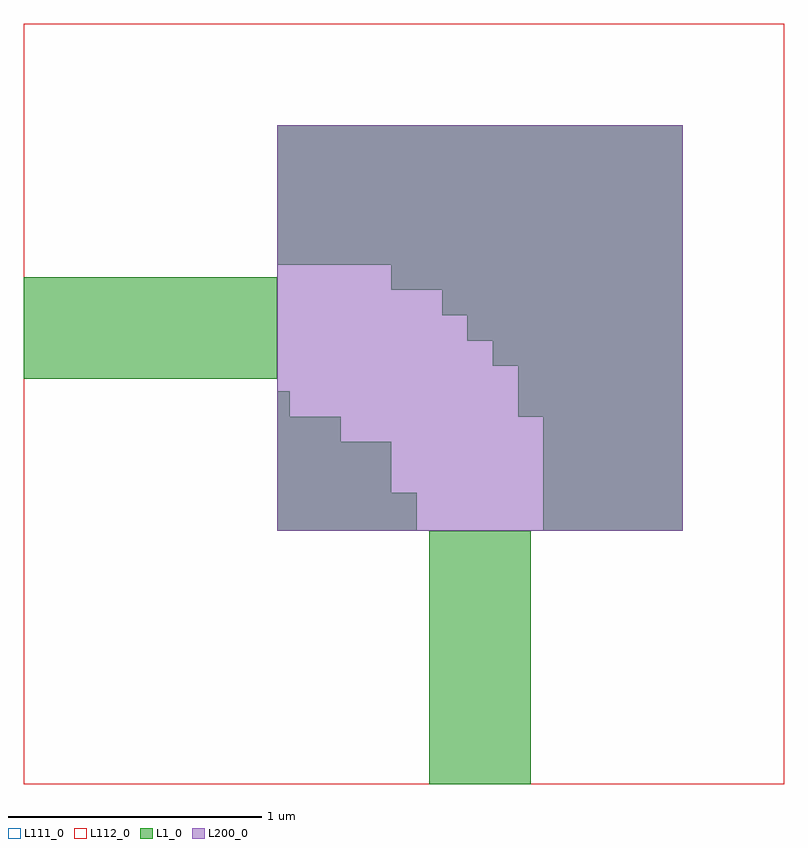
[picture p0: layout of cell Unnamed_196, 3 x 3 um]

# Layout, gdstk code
from math import pi, radians
import gdstk
lib = gdstk.Library(unit=1e-6, precision=1e-09)
def R(c, l, rs):  # rectangles x0, y0, x1, y1
    for r in rs: c.add(gdstk.rectangle(r[:2], r[2:], *l))
L1_0 = (1, 0)
L111_0 = (111, 0)
L112_0 = (112, 0)
L200_0 = (200, 0)

unnamed_195 = lib.new_cell('Unnamed_195')
R(unnamed_195, L1_0, [(0.6,-1,1,0), (-1,0.6,0,1)])

unnamed_197 = lib.new_cell('Unnamed_197')
R(unnamed_197, L111_0, [(-1,-1,2,2)])

unnamed_198 = lib.new_cell('Unnamed_198')
R(unnamed_198, L200_0, [(0,0,1.6,1.6)])

unnamed_199 = lib.new_cell('Unnamed_199')
R(unnamed_199, L112_0, [(-1,-1,2,2)])

cell = lib.new_cell('CELL')
R(cell, L1_0, [(0,0,1,1)])

grid = lib.new_cell('GRID')
grid.add(gdstk.Reference(cell, (24,31)))
grid.add(gdstk.Reference(cell, (24,30)))
grid.add(gdstk.Reference(cell, (24,29)))
grid.add(gdstk.Reference(cell, (24,28)))
grid.add(gdstk.Reference(cell, (24,27)))
grid.add(gdstk.Reference(cell, (24,26)))
grid.add(gdstk.Reference(cell, (24,25)))
grid.add(gdstk.Reference(cell, (24,24)))
grid.add(gdstk.Reference(cell, (25,31)))
grid.add(gdstk.Reference(cell, (25,30)))
grid.add(gdstk.Reference(cell, (25,29)))
grid.add(gdstk.Reference(cell, (25,28)))
grid.add(gdstk.Reference(cell, (25,27)))
grid.add(gdstk.Reference(cell, (25,26)))
grid.add(gdstk.Reference(cell, (25,25)))
grid.add(gdstk.Reference(cell, (25,24)))
grid.add(gdstk.Reference(cell, (26,31)))
grid.add(gdstk.Reference(cell, (26,30)))
grid.add(gdstk.Reference(cell, (26,29)))
grid.add(gdstk.Reference(cell, (26,28)))
grid.add(gdstk.Reference(cell, (26,27)))
grid.add(gdstk.Reference(cell, (26,26)))
grid.add(gdstk.Reference(cell, (26,25)))
grid.add(gdstk.Reference(cell, (26,24)))
grid.add(gdstk.Reference(cell, (27,31)))
grid.add(gdstk.Reference(cell, (27,30)))
grid.add(gdstk.Reference(cell, (27,29)))
grid.add(gdstk.Reference(cell, (27,28)))
grid.add(gdstk.Reference(cell, (27,27)))
grid.add(gdstk.Reference(cell, (27,26)))
grid.add(gdstk.Reference(cell, (27,25)))
grid.add(gdstk.Reference(cell, (27,24)))
grid.add(gdstk.Reference(cell, (28,31)))
grid.add(gdstk.Reference(cell, (28,30)))
grid.add(gdstk.Reference(cell, (28,29)))
grid.add(gdstk.Reference(cell, (28,28)))
grid.add(gdstk.Reference(cell, (28,27)))
grid.add(gdstk.Reference(cell, (28,26)))
grid.add(gdstk.Reference(cell, (28,25)))
grid.add(gdstk.Reference(cell, (28,24)))
grid.add(gdstk.Reference(cell, (29,31)))
grid.add(gdstk.Reference(cell, (29,30)))
grid.add(gdstk.Reference(cell, (29,29)))
grid.add(gdstk.Reference(cell, (29,28)))
grid.add(gdstk.Reference(cell, (29,27)))
grid.add(gdstk.Reference(cell, (29,26)))
grid.add(gdstk.Reference(cell, (29,25)))
grid.add(gdstk.Reference(cell, (29,24)))
grid.add(gdstk.Reference(cell, (30,31)))
grid.add(gdstk.Reference(cell, (30,30)))
grid.add(gdstk.Reference(cell, (30,29)))
grid.add(gdstk.Reference(cell, (30,28)))
grid.add(gdstk.Reference(cell, (30,27)))
grid.add(gdstk.Reference(cell, (30,26)))
grid.add(gdstk.Reference(cell, (30,25)))
grid.add(gdstk.Reference(cell, (30,24)))
grid.add(gdstk.Reference(cell, (31,31)))
grid.add(gdstk.Reference(cell, (31,30)))
grid.add(gdstk.Reference(cell, (31,29)))
grid.add(gdstk.Reference(cell, (31,28)))
grid.add(gdstk.Reference(cell, (31,27)))
grid.add(gdstk.Reference(cell, (31,26)))
grid.add(gdstk.Reference(cell, (31,25)))
grid.add(gdstk.Reference(cell, (31,24)))
grid.add(gdstk.Reference(cell, (23,31)))
grid.add(gdstk.Reference(cell, (23,30)))
grid.add(gdstk.Reference(cell, (23,29)))
grid.add(gdstk.Reference(cell, (23,28)))
grid.add(gdstk.Reference(cell, (23,27)))
grid.add(gdstk.Reference(cell, (23,26)))
grid.add(gdstk.Reference(cell, (23,25)))
grid.add(gdstk.Reference(cell, (23,24)))
grid.add(gdstk.Reference(cell, (21,31)))
grid.add(gdstk.Reference(cell, (21,30)))
grid.add(gdstk.Reference(cell, (21,29)))
grid.add(gdstk.Reference(cell, (21,28)))
grid.add(gdstk.Reference(cell, (21,27)))
grid.add(gdstk.Reference(cell, (21,26)))
grid.add(gdstk.Reference(cell, (21,25)))
grid.add(gdstk.Reference(cell, (21,24)))
grid.add(gdstk.Reference(cell, (22,31)))
grid.add(gdstk.Reference(cell, (22,30)))
grid.add(gdstk.Reference(cell, (22,29)))
grid.add(gdstk.Reference(cell, (22,28)))
grid.add(gdstk.Reference(cell, (22,27)))
grid.add(gdstk.Reference(cell, (22,26)))
grid.add(gdstk.Reference(cell, (22,25)))
grid.add(gdstk.Reference(cell, (22,24)))
grid.add(gdstk.Reference(cell, (20,22)))
grid.add(gdstk.Reference(cell, (20,21)))
grid.add(gdstk.Reference(cell, (22,23)))
grid.add(gdstk.Reference(cell, (22,22)))
grid.add(gdstk.Reference(cell, (22,21)))
grid.add(gdstk.Reference(cell, (22,20)))
grid.add(gdstk.Reference(cell, (22,19)))
grid.add(gdstk.Reference(cell, (22,18)))
grid.add(gdstk.Reference(cell, (22,17)))
grid.add(gdstk.Reference(cell, (22,16)))
grid.add(gdstk.Reference(cell, (20,20)))
grid.add(gdstk.Reference(cell, (20,19)))
grid.add(gdstk.Reference(cell, (20,18)))
grid.add(gdstk.Reference(cell, (20,17)))
grid.add(gdstk.Reference(cell, (20,16)))
grid.add(gdstk.Reference(cell, (16,16)))
grid.add(gdstk.Reference(cell, (17,18)))
grid.add(gdstk.Reference(cell, (17,17)))
grid.add(gdstk.Reference(cell, (23,23)))
grid.add(gdstk.Reference(cell, (23,22)))
grid.add(gdstk.Reference(cell, (23,21)))
grid.add(gdstk.Reference(cell, (23,20)))
grid.add(gdstk.Reference(cell, (23,19)))
grid.add(gdstk.Reference(cell, (23,18)))
grid.add(gdstk.Reference(cell, (23,17)))
grid.add(gdstk.Reference(cell, (23,16)))
grid.add(gdstk.Reference(cell, (17,16)))
grid.add(gdstk.Reference(cell, (18,18)))
grid.add(gdstk.Reference(cell, (18,17)))
grid.add(gdstk.Reference(cell, (18,16)))
grid.add(gdstk.Reference(cell, (19,22)))
grid.add(gdstk.Reference(cell, (21,23)))
grid.add(gdstk.Reference(cell, (21,22)))
grid.add(gdstk.Reference(cell, (21,21)))
grid.add(gdstk.Reference(cell, (21,20)))
grid.add(gdstk.Reference(cell, (21,19)))
grid.add(gdstk.Reference(cell, (21,18)))
grid.add(gdstk.Reference(cell, (21,17)))
grid.add(gdstk.Reference(cell, (21,16)))
grid.add(gdstk.Reference(cell, (19,21)))
grid.add(gdstk.Reference(cell, (19,20)))
grid.add(gdstk.Reference(cell, (19,19)))
grid.add(gdstk.Reference(cell, (19,18)))
grid.add(gdstk.Reference(cell, (19,17)))
grid.add(gdstk.Reference(cell, (19,16)))
grid.add(gdstk.Reference(cell, (24,23)))
grid.add(gdstk.Reference(cell, (24,22)))
grid.add(gdstk.Reference(cell, (24,21)))
grid.add(gdstk.Reference(cell, (24,20)))
grid.add(gdstk.Reference(cell, (24,19)))
grid.add(gdstk.Reference(cell, (24,18)))
grid.add(gdstk.Reference(cell, (24,17)))
grid.add(gdstk.Reference(cell, (24,16)))
grid.add(gdstk.Reference(cell, (28,23)))
grid.add(gdstk.Reference(cell, (28,22)))
grid.add(gdstk.Reference(cell, (28,21)))
grid.add(gdstk.Reference(cell, (28,20)))
grid.add(gdstk.Reference(cell, (28,19)))
grid.add(gdstk.Reference(cell, (28,18)))
grid.add(gdstk.Reference(cell, (28,17)))
grid.add(gdstk.Reference(cell, (28,16)))
grid.add(gdstk.Reference(cell, (26,23)))
grid.add(gdstk.Reference(cell, (26,22)))
grid.add(gdstk.Reference(cell, (26,21)))
grid.add(gdstk.Reference(cell, (26,20)))
grid.add(gdstk.Reference(cell, (26,19)))
grid.add(gdstk.Reference(cell, (26,18)))
grid.add(gdstk.Reference(cell, (26,17)))
grid.add(gdstk.Reference(cell, (26,16)))
grid.add(gdstk.Reference(cell, (29,23)))
grid.add(gdstk.Reference(cell, (29,22)))
grid.add(gdstk.Reference(cell, (29,21)))
grid.add(gdstk.Reference(cell, (29,20)))
grid.add(gdstk.Reference(cell, (29,19)))
grid.add(gdstk.Reference(cell, (29,18)))
grid.add(gdstk.Reference(cell, (29,17)))
grid.add(gdstk.Reference(cell, (29,16)))
grid.add(gdstk.Reference(cell, (25,23)))
grid.add(gdstk.Reference(cell, (25,22)))
grid.add(gdstk.Reference(cell, (25,21)))
grid.add(gdstk.Reference(cell, (25,20)))
grid.add(gdstk.Reference(cell, (25,19)))
grid.add(gdstk.Reference(cell, (25,18)))
grid.add(gdstk.Reference(cell, (25,17)))
grid.add(gdstk.Reference(cell, (25,16)))
grid.add(gdstk.Reference(cell, (30,23)))
grid.add(gdstk.Reference(cell, (30,22)))
grid.add(gdstk.Reference(cell, (30,21)))
grid.add(gdstk.Reference(cell, (30,20)))
grid.add(gdstk.Reference(cell, (30,19)))
grid.add(gdstk.Reference(cell, (30,18)))
grid.add(gdstk.Reference(cell, (30,17)))
grid.add(gdstk.Reference(cell, (30,16)))
grid.add(gdstk.Reference(cell, (27,23)))
grid.add(gdstk.Reference(cell, (27,22)))
grid.add(gdstk.Reference(cell, (27,21)))
grid.add(gdstk.Reference(cell, (27,20)))
grid.add(gdstk.Reference(cell, (27,19)))
grid.add(gdstk.Reference(cell, (27,18)))
grid.add(gdstk.Reference(cell, (27,17)))
grid.add(gdstk.Reference(cell, (27,16)))
grid.add(gdstk.Reference(cell, (31,23)))
grid.add(gdstk.Reference(cell, (31,22)))
grid.add(gdstk.Reference(cell, (31,21)))
grid.add(gdstk.Reference(cell, (31,20)))
grid.add(gdstk.Reference(cell, (31,19)))
grid.add(gdstk.Reference(cell, (31,18)))
grid.add(gdstk.Reference(cell, (31,17)))
grid.add(gdstk.Reference(cell, (31,16)))
grid.add(gdstk.Reference(cell, (3,31)))
grid.add(gdstk.Reference(cell, (3,30)))
grid.add(gdstk.Reference(cell, (3,29)))
grid.add(gdstk.Reference(cell, (3,28)))
grid.add(gdstk.Reference(cell, (3,27)))
grid.add(gdstk.Reference(cell, (3,26)))
grid.add(gdstk.Reference(cell, (3,25)))
grid.add(gdstk.Reference(cell, (3,24)))
grid.add(gdstk.Reference(cell, (3,23)))
grid.add(gdstk.Reference(cell, (4,31)))
grid.add(gdstk.Reference(cell, (4,30)))
grid.add(gdstk.Reference(cell, (4,29)))
grid.add(gdstk.Reference(cell, (4,28)))
grid.add(gdstk.Reference(cell, (4,27)))
grid.add(gdstk.Reference(cell, (4,26)))
grid.add(gdstk.Reference(cell, (4,25)))
grid.add(gdstk.Reference(cell, (4,24)))
grid.add(gdstk.Reference(cell, (4,23)))
grid.add(gdstk.Reference(cell, (5,31)))
grid.add(gdstk.Reference(cell, (5,30)))
grid.add(gdstk.Reference(cell, (5,29)))
grid.add(gdstk.Reference(cell, (5,28)))
grid.add(gdstk.Reference(cell, (5,27)))
grid.add(gdstk.Reference(cell, (5,26)))
grid.add(gdstk.Reference(cell, (5,25)))
grid.add(gdstk.Reference(cell, (5,24)))
grid.add(gdstk.Reference(cell, (5,23)))
grid.add(gdstk.Reference(cell, (6,31)))
grid.add(gdstk.Reference(cell, (6,30)))
grid.add(gdstk.Reference(cell, (6,29)))
grid.add(gdstk.Reference(cell, (6,28)))
grid.add(gdstk.Reference(cell, (6,27)))
grid.add(gdstk.Reference(cell, (6,26)))
grid.add(gdstk.Reference(cell, (6,25)))
grid.add(gdstk.Reference(cell, (6,24)))
grid.add(gdstk.Reference(cell, (6,23)))
grid.add(gdstk.Reference(cell, (7,31)))
grid.add(gdstk.Reference(cell, (7,30)))
grid.add(gdstk.Reference(cell, (7,29)))
grid.add(gdstk.Reference(cell, (7,28)))
grid.add(gdstk.Reference(cell, (7,27)))
grid.add(gdstk.Reference(cell, (8,31)))
grid.add(gdstk.Reference(cell, (8,30)))
grid.add(gdstk.Reference(cell, (8,29)))
grid.add(gdstk.Reference(cell, (8,28)))
grid.add(gdstk.Reference(cell, (8,27)))
grid.add(gdstk.Reference(cell, (9,31)))
grid.add(gdstk.Reference(cell, (10,31)))
grid.add(gdstk.Reference(cell, (15,16)))
grid.add(gdstk.Reference(cell, (0,31)))
grid.add(gdstk.Reference(cell, (0,30)))
grid.add(gdstk.Reference(cell, (0,29)))
grid.add(gdstk.Reference(cell, (0,28)))
grid.add(gdstk.Reference(cell, (0,27)))
grid.add(gdstk.Reference(cell, (0,26)))
grid.add(gdstk.Reference(cell, (0,25)))
grid.add(gdstk.Reference(cell, (0,24)))
grid.add(gdstk.Reference(cell, (0,23)))
grid.add(gdstk.Reference(cell, (0,22)))
grid.add(gdstk.Reference(cell, (0,21)))
grid.add(gdstk.Reference(cell, (1,31)))
grid.add(gdstk.Reference(cell, (1,30)))
grid.add(gdstk.Reference(cell, (1,29)))
grid.add(gdstk.Reference(cell, (1,28)))
grid.add(gdstk.Reference(cell, (1,27)))
grid.add(gdstk.Reference(cell, (1,26)))
grid.add(gdstk.Reference(cell, (1,25)))
grid.add(gdstk.Reference(cell, (1,24)))
grid.add(gdstk.Reference(cell, (1,23)))
grid.add(gdstk.Reference(cell, (1,22)))
grid.add(gdstk.Reference(cell, (1,21)))
grid.add(gdstk.Reference(cell, (2,31)))
grid.add(gdstk.Reference(cell, (2,30)))
grid.add(gdstk.Reference(cell, (2,29)))
grid.add(gdstk.Reference(cell, (2,28)))
grid.add(gdstk.Reference(cell, (2,27)))
grid.add(gdstk.Reference(cell, (2,26)))
grid.add(gdstk.Reference(cell, (2,25)))
grid.add(gdstk.Reference(cell, (2,24)))
grid.add(gdstk.Reference(cell, (2,23)))
grid.add(gdstk.Reference(cell, (2,22)))
grid.add(gdstk.Reference(cell, (2,21)))
grid.add(gdstk.Reference(cell, (8,10)))
grid.add(gdstk.Reference(cell, (8,9)))
grid.add(gdstk.Reference(cell, (8,8)))
grid.add(gdstk.Reference(cell, (9,12)))
grid.add(gdstk.Reference(cell, (9,11)))
grid.add(gdstk.Reference(cell, (9,10)))
grid.add(gdstk.Reference(cell, (9,9)))
grid.add(gdstk.Reference(cell, (9,8)))
grid.add(gdstk.Reference(cell, (10,12)))
grid.add(gdstk.Reference(cell, (10,11)))
grid.add(gdstk.Reference(cell, (10,10)))
grid.add(gdstk.Reference(cell, (10,9)))
grid.add(gdstk.Reference(cell, (10,8)))
grid.add(gdstk.Reference(cell, (11,12)))
grid.add(gdstk.Reference(cell, (11,11)))
grid.add(gdstk.Reference(cell, (11,10)))
grid.add(gdstk.Reference(cell, (11,9)))
grid.add(gdstk.Reference(cell, (11,8)))
grid.add(gdstk.Reference(cell, (12,12)))
grid.add(gdstk.Reference(cell, (12,11)))
grid.add(gdstk.Reference(cell, (12,10)))
grid.add(gdstk.Reference(cell, (12,9)))
grid.add(gdstk.Reference(cell, (12,8)))
grid.add(gdstk.Reference(cell, (13,14)))
grid.add(gdstk.Reference(cell, (13,13)))
grid.add(gdstk.Reference(cell, (13,12)))
grid.add(gdstk.Reference(cell, (13,11)))
grid.add(gdstk.Reference(cell, (13,10)))
grid.add(gdstk.Reference(cell, (13,9)))
grid.add(gdstk.Reference(cell, (13,8)))
grid.add(gdstk.Reference(cell, (14,14)))
grid.add(gdstk.Reference(cell, (14,13)))
grid.add(gdstk.Reference(cell, (14,12)))
grid.add(gdstk.Reference(cell, (14,11)))
grid.add(gdstk.Reference(cell, (14,10)))
grid.add(gdstk.Reference(cell, (14,9)))
grid.add(gdstk.Reference(cell, (14,8)))
grid.add(gdstk.Reference(cell, (15,15)))
grid.add(gdstk.Reference(cell, (15,14)))
grid.add(gdstk.Reference(cell, (15,13)))
grid.add(gdstk.Reference(cell, (15,12)))
grid.add(gdstk.Reference(cell, (15,11)))
grid.add(gdstk.Reference(cell, (15,10)))
grid.add(gdstk.Reference(cell, (15,9)))
grid.add(gdstk.Reference(cell, (15,8)))
grid.add(gdstk.Reference(cell, (3,10)))
grid.add(gdstk.Reference(cell, (3,9)))
grid.add(gdstk.Reference(cell, (3,8)))
grid.add(gdstk.Reference(cell, (0,10)))
grid.add(gdstk.Reference(cell, (0,9)))
grid.add(gdstk.Reference(cell, (0,8)))
grid.add(gdstk.Reference(cell, (4,10)))
grid.add(gdstk.Reference(cell, (4,9)))
grid.add(gdstk.Reference(cell, (4,8)))
grid.add(gdstk.Reference(cell, (2,10)))
grid.add(gdstk.Reference(cell, (2,9)))
grid.add(gdstk.Reference(cell, (2,8)))
grid.add(gdstk.Reference(cell, (5,10)))
grid.add(gdstk.Reference(cell, (5,9)))
grid.add(gdstk.Reference(cell, (5,8)))
grid.add(gdstk.Reference(cell, (1,10)))
grid.add(gdstk.Reference(cell, (1,9)))
grid.add(gdstk.Reference(cell, (1,8)))
grid.add(gdstk.Reference(cell, (6,10)))
grid.add(gdstk.Reference(cell, (6,9)))
grid.add(gdstk.Reference(cell, (6,8)))
grid.add(gdstk.Reference(cell, (7,10)))
grid.add(gdstk.Reference(cell, (7,9)))
grid.add(gdstk.Reference(cell, (7,8)))
grid.add(gdstk.Reference(cell, (4,5)))
grid.add(gdstk.Reference(cell, (4,4)))
grid.add(gdstk.Reference(cell, (4,3)))
grid.add(gdstk.Reference(cell, (7,7)))
grid.add(gdstk.Reference(cell, (7,6)))
grid.add(gdstk.Reference(cell, (7,5)))
grid.add(gdstk.Reference(cell, (7,4)))
grid.add(gdstk.Reference(cell, (7,3)))
grid.add(gdstk.Reference(cell, (7,2)))
grid.add(gdstk.Reference(cell, (7,1)))
grid.add(gdstk.Reference(cell, (7,0)))
grid.add(gdstk.Reference(cell, (1,2)))
grid.add(gdstk.Reference(cell, (4,2)))
grid.add(gdstk.Reference(cell, (4,1)))
grid.add(gdstk.Reference(cell, (4,0)))
grid.add(gdstk.Reference(cell, (3,7)))
grid.add(gdstk.Reference(cell, (0,3)))
grid.add(gdstk.Reference(cell, (0,2)))
grid.add(gdstk.Reference(cell, (0,1)))
grid.add(gdstk.Reference(cell, (3,6)))
grid.add(gdstk.Reference(cell, (0,0)))
grid.add(gdstk.Reference(cell, (3,3)))
grid.add(gdstk.Reference(cell, (3,2)))
grid.add(gdstk.Reference(cell, (3,1)))
grid.add(gdstk.Reference(cell, (2,7)))
grid.add(gdstk.Reference(cell, (3,5)))
grid.add(gdstk.Reference(cell, (2,6)))
grid.add(gdstk.Reference(cell, (0,7)))
grid.add(gdstk.Reference(cell, (0,6)))
grid.add(gdstk.Reference(cell, (0,5)))
grid.add(gdstk.Reference(cell, (5,7)))
grid.add(gdstk.Reference(cell, (5,6)))
grid.add(gdstk.Reference(cell, (5,5)))
grid.add(gdstk.Reference(cell, (5,4)))
grid.add(gdstk.Reference(cell, (5,3)))
grid.add(gdstk.Reference(cell, (5,2)))
grid.add(gdstk.Reference(cell, (5,1)))
grid.add(gdstk.Reference(cell, (5,0)))
grid.add(gdstk.Reference(cell, (2,5)))
grid.add(gdstk.Reference(cell, (2,4)))
grid.add(gdstk.Reference(cell, (2,3)))
grid.add(gdstk.Reference(cell, (2,2)))
grid.add(gdstk.Reference(cell, (2,1)))
grid.add(gdstk.Reference(cell, (2,0)))
grid.add(gdstk.Reference(cell, (0,4)))
grid.add(gdstk.Reference(cell, (3,0)))
grid.add(gdstk.Reference(cell, (1,1)))
grid.add(gdstk.Reference(cell, (1,0)))
grid.add(gdstk.Reference(cell, (4,7)))
grid.add(gdstk.Reference(cell, (4,6)))
grid.add(gdstk.Reference(cell, (6,7)))
grid.add(gdstk.Reference(cell, (6,6)))
grid.add(gdstk.Reference(cell, (6,5)))
grid.add(gdstk.Reference(cell, (6,4)))
grid.add(gdstk.Reference(cell, (6,3)))
grid.add(gdstk.Reference(cell, (3,4)))
grid.add(gdstk.Reference(cell, (6,2)))
grid.add(gdstk.Reference(cell, (6,1)))
grid.add(gdstk.Reference(cell, (6,0)))
grid.add(gdstk.Reference(cell, (1,7)))
grid.add(gdstk.Reference(cell, (1,6)))
grid.add(gdstk.Reference(cell, (1,5)))
grid.add(gdstk.Reference(cell, (1,4)))
grid.add(gdstk.Reference(cell, (1,3)))
grid.add(gdstk.Reference(cell, (11,3)))
grid.add(gdstk.Reference(cell, (11,2)))
grid.add(gdstk.Reference(cell, (11,1)))
grid.add(gdstk.Reference(cell, (11,0)))
grid.add(gdstk.Reference(cell, (9,4)))
grid.add(gdstk.Reference(cell, (9,3)))
grid.add(gdstk.Reference(cell, (9,2)))
grid.add(gdstk.Reference(cell, (9,1)))
grid.add(gdstk.Reference(cell, (9,0)))
grid.add(gdstk.Reference(cell, (12,7)))
grid.add(gdstk.Reference(cell, (12,6)))
grid.add(gdstk.Reference(cell, (12,5)))
grid.add(gdstk.Reference(cell, (12,4)))
grid.add(gdstk.Reference(cell, (12,3)))
grid.add(gdstk.Reference(cell, (12,2)))
grid.add(gdstk.Reference(cell, (12,1)))
grid.add(gdstk.Reference(cell, (12,0)))
grid.add(gdstk.Reference(cell, (8,1)))
grid.add(gdstk.Reference(cell, (8,0)))
grid.add(gdstk.Reference(cell, (8,7)))
grid.add(gdstk.Reference(cell, (8,6)))
grid.add(gdstk.Reference(cell, (8,5)))
grid.add(gdstk.Reference(cell, (8,4)))
grid.add(gdstk.Reference(cell, (10,7)))
grid.add(gdstk.Reference(cell, (13,7)))
grid.add(gdstk.Reference(cell, (13,6)))
grid.add(gdstk.Reference(cell, (13,5)))
grid.add(gdstk.Reference(cell, (13,4)))
grid.add(gdstk.Reference(cell, (13,3)))
grid.add(gdstk.Reference(cell, (13,2)))
grid.add(gdstk.Reference(cell, (13,1)))
grid.add(gdstk.Reference(cell, (13,0)))
grid.add(gdstk.Reference(cell, (10,6)))
grid.add(gdstk.Reference(cell, (10,5)))
grid.add(gdstk.Reference(cell, (10,4)))
grid.add(gdstk.Reference(cell, (10,3)))
grid.add(gdstk.Reference(cell, (10,2)))
grid.add(gdstk.Reference(cell, (10,1)))
grid.add(gdstk.Reference(cell, (10,0)))
grid.add(gdstk.Reference(cell, (14,7)))
grid.add(gdstk.Reference(cell, (14,6)))
grid.add(gdstk.Reference(cell, (14,5)))
grid.add(gdstk.Reference(cell, (14,4)))
grid.add(gdstk.Reference(cell, (14,3)))
grid.add(gdstk.Reference(cell, (14,2)))
grid.add(gdstk.Reference(cell, (14,1)))
grid.add(gdstk.Reference(cell, (14,0)))
grid.add(gdstk.Reference(cell, (8,3)))
grid.add(gdstk.Reference(cell, (8,2)))
grid.add(gdstk.Reference(cell, (9,7)))
grid.add(gdstk.Reference(cell, (9,6)))
grid.add(gdstk.Reference(cell, (9,5)))
grid.add(gdstk.Reference(cell, (11,7)))
grid.add(gdstk.Reference(cell, (11,6)))
grid.add(gdstk.Reference(cell, (11,5)))
grid.add(gdstk.Reference(cell, (11,4)))
grid.add(gdstk.Reference(cell, (15,7)))
grid.add(gdstk.Reference(cell, (15,6)))
grid.add(gdstk.Reference(cell, (15,5)))
grid.add(gdstk.Reference(cell, (15,4)))
grid.add(gdstk.Reference(cell, (15,3)))
grid.add(gdstk.Reference(cell, (15,2)))
grid.add(gdstk.Reference(cell, (15,1)))
grid.add(gdstk.Reference(cell, (15,0)))
grid.add(gdstk.Reference(cell, (24,15)))
grid.add(gdstk.Reference(cell, (24,14)))
grid.add(gdstk.Reference(cell, (24,13)))
grid.add(gdstk.Reference(cell, (24,12)))
grid.add(gdstk.Reference(cell, (24,11)))
grid.add(gdstk.Reference(cell, (24,10)))
grid.add(gdstk.Reference(cell, (24,9)))
grid.add(gdstk.Reference(cell, (24,8)))
grid.add(gdstk.Reference(cell, (25,15)))
grid.add(gdstk.Reference(cell, (25,14)))
grid.add(gdstk.Reference(cell, (25,13)))
grid.add(gdstk.Reference(cell, (25,12)))
grid.add(gdstk.Reference(cell, (25,11)))
grid.add(gdstk.Reference(cell, (25,10)))
grid.add(gdstk.Reference(cell, (25,9)))
grid.add(gdstk.Reference(cell, (25,8)))
grid.add(gdstk.Reference(cell, (26,15)))
grid.add(gdstk.Reference(cell, (26,14)))
grid.add(gdstk.Reference(cell, (26,13)))
grid.add(gdstk.Reference(cell, (26,12)))
grid.add(gdstk.Reference(cell, (26,11)))
grid.add(gdstk.Reference(cell, (26,10)))
grid.add(gdstk.Reference(cell, (26,9)))
grid.add(gdstk.Reference(cell, (26,8)))
grid.add(gdstk.Reference(cell, (27,15)))
grid.add(gdstk.Reference(cell, (27,14)))
grid.add(gdstk.Reference(cell, (27,13)))
grid.add(gdstk.Reference(cell, (27,12)))
grid.add(gdstk.Reference(cell, (27,11)))
grid.add(gdstk.Reference(cell, (27,10)))
grid.add(gdstk.Reference(cell, (27,9)))
grid.add(gdstk.Reference(cell, (27,8)))
grid.add(gdstk.Reference(cell, (28,15)))
grid.add(gdstk.Reference(cell, (28,14)))
grid.add(gdstk.Reference(cell, (28,13)))
grid.add(gdstk.Reference(cell, (28,12)))
grid.add(gdstk.Reference(cell, (28,11)))
grid.add(gdstk.Reference(cell, (28,10)))
grid.add(gdstk.Reference(cell, (28,9)))
grid.add(gdstk.Reference(cell, (28,8)))
grid.add(gdstk.Reference(cell, (29,15)))
grid.add(gdstk.Reference(cell, (29,14)))
grid.add(gdstk.Reference(cell, (29,13)))
grid.add(gdstk.Reference(cell, (29,12)))
grid.add(gdstk.Reference(cell, (29,11)))
grid.add(gdstk.Reference(cell, (29,10)))
grid.add(gdstk.Reference(cell, (29,9)))
grid.add(gdstk.Reference(cell, (29,8)))
grid.add(gdstk.Reference(cell, (30,15)))
grid.add(gdstk.Reference(cell, (30,14)))
grid.add(gdstk.Reference(cell, (30,13)))
grid.add(gdstk.Reference(cell, (30,12)))
grid.add(gdstk.Reference(cell, (30,11)))
grid.add(gdstk.Reference(cell, (30,10)))
grid.add(gdstk.Reference(cell, (30,9)))
grid.add(gdstk.Reference(cell, (30,8)))
grid.add(gdstk.Reference(cell, (31,15)))
grid.add(gdstk.Reference(cell, (31,14)))
grid.add(gdstk.Reference(cell, (31,13)))
grid.add(gdstk.Reference(cell, (31,12)))
grid.add(gdstk.Reference(cell, (31,11)))
grid.add(gdstk.Reference(cell, (31,10)))
grid.add(gdstk.Reference(cell, (31,9)))
grid.add(gdstk.Reference(cell, (31,8)))
grid.add(gdstk.Reference(cell, (18,14)))
grid.add(gdstk.Reference(cell, (18,13)))
grid.add(gdstk.Reference(cell, (18,12)))
grid.add(gdstk.Reference(cell, (18,11)))
grid.add(gdstk.Reference(cell, (18,10)))
grid.add(gdstk.Reference(cell, (18,9)))
grid.add(gdstk.Reference(cell, (18,8)))
grid.add(gdstk.Reference(cell, (17,11)))
grid.add(gdstk.Reference(cell, (17,10)))
grid.add(gdstk.Reference(cell, (17,9)))
grid.add(gdstk.Reference(cell, (17,8)))
grid.add(gdstk.Reference(cell, (16,12)))
grid.add(gdstk.Reference(cell, (20,12)))
grid.add(gdstk.Reference(cell, (20,11)))
grid.add(gdstk.Reference(cell, (20,10)))
grid.add(gdstk.Reference(cell, (22,15)))
grid.add(gdstk.Reference(cell, (22,14)))
grid.add(gdstk.Reference(cell, (22,13)))
grid.add(gdstk.Reference(cell, (22,12)))
grid.add(gdstk.Reference(cell, (22,11)))
grid.add(gdstk.Reference(cell, (22,10)))
grid.add(gdstk.Reference(cell, (22,9)))
grid.add(gdstk.Reference(cell, (22,8)))
grid.add(gdstk.Reference(cell, (20,9)))
grid.add(gdstk.Reference(cell, (20,8)))
grid.add(gdstk.Reference(cell, (16,13)))
grid.add(gdstk.Reference(cell, (17,15)))
grid.add(gdstk.Reference(cell, (19,8)))
grid.add(gdstk.Reference(cell, (21,15)))
grid.add(gdstk.Reference(cell, (21,14)))
grid.add(gdstk.Reference(cell, (21,13)))
grid.add(gdstk.Reference(cell, (16,9)))
grid.add(gdstk.Reference(cell, (16,8)))
grid.add(gdstk.Reference(cell, (19,15)))
grid.add(gdstk.Reference(cell, (19,14)))
grid.add(gdstk.Reference(cell, (19,13)))
grid.add(gdstk.Reference(cell, (19,12)))
grid.add(gdstk.Reference(cell, (19,11)))
grid.add(gdstk.Reference(cell, (19,10)))
grid.add(gdstk.Reference(cell, (19,9)))
grid.add(gdstk.Reference(cell, (21,12)))
grid.add(gdstk.Reference(cell, (21,11)))
grid.add(gdstk.Reference(cell, (21,10)))
grid.add(gdstk.Reference(cell, (21,9)))
grid.add(gdstk.Reference(cell, (21,8)))
grid.add(gdstk.Reference(cell, (16,15)))
grid.add(gdstk.Reference(cell, (16,14)))
grid.add(gdstk.Reference(cell, (20,15)))
grid.add(gdstk.Reference(cell, (23,15)))
grid.add(gdstk.Reference(cell, (23,14)))
grid.add(gdstk.Reference(cell, (23,13)))
grid.add(gdstk.Reference(cell, (23,12)))
grid.add(gdstk.Reference(cell, (23,11)))
grid.add(gdstk.Reference(cell, (23,10)))
grid.add(gdstk.Reference(cell, (23,9)))
grid.add(gdstk.Reference(cell, (23,8)))
grid.add(gdstk.Reference(cell, (20,14)))
grid.add(gdstk.Reference(cell, (20,13)))
grid.add(gdstk.Reference(cell, (17,14)))
grid.add(gdstk.Reference(cell, (17,13)))
grid.add(gdstk.Reference(cell, (17,12)))
grid.add(gdstk.Reference(cell, (16,11)))
grid.add(gdstk.Reference(cell, (16,10)))
grid.add(gdstk.Reference(cell, (18,15)))
grid.add(gdstk.Reference(cell, (22,7)))
grid.add(gdstk.Reference(cell, (22,6)))
grid.add(gdstk.Reference(cell, (22,5)))
grid.add(gdstk.Reference(cell, (22,4)))
grid.add(gdstk.Reference(cell, (22,3)))
grid.add(gdstk.Reference(cell, (22,2)))
grid.add(gdstk.Reference(cell, (22,1)))
grid.add(gdstk.Reference(cell, (22,0)))
grid.add(gdstk.Reference(cell, (21,0)))
grid.add(gdstk.Reference(cell, (20,5)))
grid.add(gdstk.Reference(cell, (20,4)))
grid.add(gdstk.Reference(cell, (17,7)))
grid.add(gdstk.Reference(cell, (17,6)))
grid.add(gdstk.Reference(cell, (17,5)))
grid.add(gdstk.Reference(cell, (17,4)))
grid.add(gdstk.Reference(cell, (17,3)))
grid.add(gdstk.Reference(cell, (18,1)))
grid.add(gdstk.Reference(cell, (18,0)))
grid.add(gdstk.Reference(cell, (17,2)))
grid.add(gdstk.Reference(cell, (17,1)))
grid.add(gdstk.Reference(cell, (16,7)))
grid.add(gdstk.Reference(cell, (16,6)))
grid.add(gdstk.Reference(cell, (16,5)))
grid.add(gdstk.Reference(cell, (16,4)))
grid.add(gdstk.Reference(cell, (16,3)))
grid.add(gdstk.Reference(cell, (17,0)))
grid.add(gdstk.Reference(cell, (20,3)))
grid.add(gdstk.Reference(cell, (20,2)))
grid.add(gdstk.Reference(cell, (20,1)))
grid.add(gdstk.Reference(cell, (20,0)))
grid.add(gdstk.Reference(cell, (16,1)))
grid.add(gdstk.Reference(cell, (16,0)))
grid.add(gdstk.Reference(cell, (19,7)))
grid.add(gdstk.Reference(cell, (19,6)))
grid.add(gdstk.Reference(cell, (18,7)))
grid.add(gdstk.Reference(cell, (18,6)))
grid.add(gdstk.Reference(cell, (18,5)))
grid.add(gdstk.Reference(cell, (18,4)))
grid.add(gdstk.Reference(cell, (18,3)))
grid.add(gdstk.Reference(cell, (18,2)))
grid.add(gdstk.Reference(cell, (19,5)))
grid.add(gdstk.Reference(cell, (19,4)))
grid.add(gdstk.Reference(cell, (19,3)))
grid.add(gdstk.Reference(cell, (19,2)))
grid.add(gdstk.Reference(cell, (19,1)))
grid.add(gdstk.Reference(cell, (19,0)))
grid.add(gdstk.Reference(cell, (16,2)))
grid.add(gdstk.Reference(cell, (20,7)))
grid.add(gdstk.Reference(cell, (23,7)))
grid.add(gdstk.Reference(cell, (23,6)))
grid.add(gdstk.Reference(cell, (23,5)))
grid.add(gdstk.Reference(cell, (23,4)))
grid.add(gdstk.Reference(cell, (23,3)))
grid.add(gdstk.Reference(cell, (23,2)))
grid.add(gdstk.Reference(cell, (23,1)))
grid.add(gdstk.Reference(cell, (23,0)))
grid.add(gdstk.Reference(cell, (20,6)))
grid.add(gdstk.Reference(cell, (21,7)))
grid.add(gdstk.Reference(cell, (21,6)))
grid.add(gdstk.Reference(cell, (21,5)))
grid.add(gdstk.Reference(cell, (21,4)))
grid.add(gdstk.Reference(cell, (21,3)))
grid.add(gdstk.Reference(cell, (21,2)))
grid.add(gdstk.Reference(cell, (21,1)))
grid.add(gdstk.Reference(cell, (26,7)))
grid.add(gdstk.Reference(cell, (26,6)))
grid.add(gdstk.Reference(cell, (26,5)))
grid.add(gdstk.Reference(cell, (26,4)))
grid.add(gdstk.Reference(cell, (26,3)))
grid.add(gdstk.Reference(cell, (26,2)))
grid.add(gdstk.Reference(cell, (26,1)))
grid.add(gdstk.Reference(cell, (26,0)))
grid.add(gdstk.Reference(cell, (28,7)))
grid.add(gdstk.Reference(cell, (28,6)))
grid.add(gdstk.Reference(cell, (28,5)))
grid.add(gdstk.Reference(cell, (28,4)))
grid.add(gdstk.Reference(cell, (28,3)))
grid.add(gdstk.Reference(cell, (28,2)))
grid.add(gdstk.Reference(cell, (28,1)))
grid.add(gdstk.Reference(cell, (28,0)))
grid.add(gdstk.Reference(cell, (27,7)))
grid.add(gdstk.Reference(cell, (27,6)))
grid.add(gdstk.Reference(cell, (27,5)))
grid.add(gdstk.Reference(cell, (27,4)))
grid.add(gdstk.Reference(cell, (27,3)))
grid.add(gdstk.Reference(cell, (27,2)))
grid.add(gdstk.Reference(cell, (27,1)))
grid.add(gdstk.Reference(cell, (27,0)))
grid.add(gdstk.Reference(cell, (30,7)))
grid.add(gdstk.Reference(cell, (30,6)))
grid.add(gdstk.Reference(cell, (30,5)))
grid.add(gdstk.Reference(cell, (30,4)))
grid.add(gdstk.Reference(cell, (30,3)))
grid.add(gdstk.Reference(cell, (30,2)))
grid.add(gdstk.Reference(cell, (30,1)))
grid.add(gdstk.Reference(cell, (30,0)))
grid.add(gdstk.Reference(cell, (25,7)))
grid.add(gdstk.Reference(cell, (25,6)))
grid.add(gdstk.Reference(cell, (25,5)))
grid.add(gdstk.Reference(cell, (25,4)))
grid.add(gdstk.Reference(cell, (25,3)))
grid.add(gdstk.Reference(cell, (25,2)))
grid.add(gdstk.Reference(cell, (25,1)))
grid.add(gdstk.Reference(cell, (25,0)))
grid.add(gdstk.Reference(cell, (24,7)))
grid.add(gdstk.Reference(cell, (24,6)))
grid.add(gdstk.Reference(cell, (24,5)))
grid.add(gdstk.Reference(cell, (24,4)))
grid.add(gdstk.Reference(cell, (24,3)))
grid.add(gdstk.Reference(cell, (24,2)))
grid.add(gdstk.Reference(cell, (24,1)))
grid.add(gdstk.Reference(cell, (24,0)))
grid.add(gdstk.Reference(cell, (29,7)))
grid.add(gdstk.Reference(cell, (29,6)))
grid.add(gdstk.Reference(cell, (29,5)))
grid.add(gdstk.Reference(cell, (29,4)))
grid.add(gdstk.Reference(cell, (29,3)))
grid.add(gdstk.Reference(cell, (29,2)))
grid.add(gdstk.Reference(cell, (29,1)))
grid.add(gdstk.Reference(cell, (29,0)))
grid.add(gdstk.Reference(cell, (31,7)))
grid.add(gdstk.Reference(cell, (31,6)))
grid.add(gdstk.Reference(cell, (31,5)))
grid.add(gdstk.Reference(cell, (31,4)))
grid.add(gdstk.Reference(cell, (31,3)))
grid.add(gdstk.Reference(cell, (31,2)))
grid.add(gdstk.Reference(cell, (31,1)))
grid.add(gdstk.Reference(cell, (31,0)))

top = lib.new_cell('TOP')
top.add(gdstk.Reference(grid, (0,0), magnification=0.05))

unnamed_196 = lib.new_cell('Unnamed_196')
unnamed_196.add(gdstk.Reference(unnamed_195, (0,0)))
unnamed_196.add(gdstk.Reference(unnamed_197, (0,0)))
unnamed_196.add(gdstk.Reference(unnamed_198, (0,0)))
unnamed_196.add(gdstk.Reference(unnamed_199, (0,0)))
unnamed_196.add(gdstk.Reference(top, (1.6,0), rotation=pi/2))

lib.write_gds('Unnamed_196.gds')
